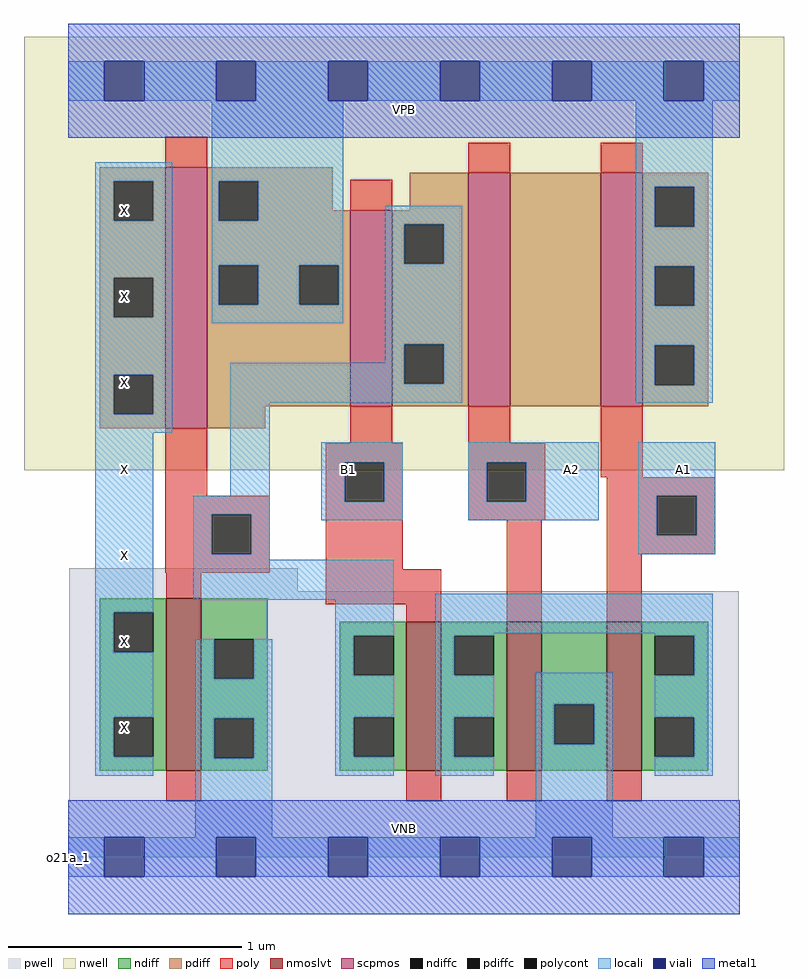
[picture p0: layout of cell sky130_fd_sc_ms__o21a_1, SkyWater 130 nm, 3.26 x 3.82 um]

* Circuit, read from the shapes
.subckt sky130_fd_sc_ms__o21a_1 A1 A2 B1 VGND VNB VPB VPWR X
XM1 VGND n1 X VNB sky130_fd_pr__nfet_01v8_lvt w=0.74 l=0.15
XM2 n2 B1 n1 VNB sky130_fd_pr__nfet_01v8_lvt w=0.64 l=0.15
XM3 VGND A2 n2 VNB sky130_fd_pr__nfet_01v8_lvt w=0.64 l=0.15
XM4 n2 A1 VGND VNB sky130_fd_pr__nfet_01v8_lvt w=0.64 l=0.15
XM5 VPWR n1 X VPB sky130_fd_pr__pfet_01v8 w=1.12 l=0.18
XM6 n1 B1 VPWR VPB sky130_fd_pr__pfet_01v8 w=0.84 l=0.18
XM7 n3 A2 n1 VPB sky130_fd_pr__pfet_01v8 w=1 l=0.18
XM8 VPWR A1 n3 VPB sky130_fd_pr__pfet_01v8 w=1 l=0.18
.ends

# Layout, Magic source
magic
tech sky130A
magscale 1 2
<< nwell >>
rect -38 332 614 704
<< pwell >>
rect 1 228 197 248
rect 1 49 575 228
rect 0 0 576 49
<< scpmos >>
rect 83 368 119 592
rect 242 387 278 555
rect 343 387 379 587
rect 457 387 493 587
<< nmoslvt >>
rect 84 74 114 222
rect 290 74 320 202
rect 376 74 406 202
rect 462 74 492 202
<< ndiff >>
rect 27 210 84 222
rect 27 176 39 210
rect 73 176 84 210
rect 27 120 84 176
rect 27 86 39 120
rect 73 86 84 120
rect 27 74 84 86
rect 114 187 171 222
rect 114 153 125 187
rect 159 153 171 187
rect 114 119 171 153
rect 114 85 125 119
rect 159 85 171 119
rect 114 74 171 85
rect 233 190 290 202
rect 233 156 245 190
rect 279 156 290 190
rect 233 120 290 156
rect 233 86 245 120
rect 279 86 290 120
rect 233 74 290 86
rect 320 190 376 202
rect 320 156 331 190
rect 365 156 376 190
rect 320 120 376 156
rect 320 86 331 120
rect 365 86 376 120
rect 320 74 376 86
rect 406 131 462 202
rect 406 97 417 131
rect 451 97 462 131
rect 406 74 462 97
rect 492 190 549 202
rect 492 156 503 190
rect 537 156 549 190
rect 492 120 549 156
rect 492 86 503 120
rect 537 86 549 120
rect 492 74 549 86
<< pdiff >>
rect 27 580 83 592
rect 27 546 39 580
rect 73 546 83 580
rect 27 497 83 546
rect 27 463 39 497
rect 73 463 83 497
rect 27 414 83 463
rect 27 380 39 414
rect 73 380 83 414
rect 27 368 83 380
rect 119 580 227 592
rect 119 546 129 580
rect 163 555 227 580
rect 293 555 343 587
rect 163 546 242 555
rect 119 508 242 546
rect 119 474 129 508
rect 163 474 198 508
rect 232 474 242 508
rect 119 387 242 474
rect 278 543 343 555
rect 278 509 288 543
rect 322 509 343 543
rect 278 440 343 509
rect 278 406 288 440
rect 322 406 343 440
rect 278 387 343 406
rect 379 387 457 587
rect 493 575 549 587
rect 493 541 503 575
rect 537 541 549 575
rect 493 507 549 541
rect 493 473 503 507
rect 537 473 549 507
rect 493 439 549 473
rect 493 405 503 439
rect 537 405 549 439
rect 493 387 549 405
rect 119 368 169 387
<< ndiffc >>
rect 39 176 73 210
rect 39 86 73 120
rect 125 153 159 187
rect 125 85 159 119
rect 245 156 279 190
rect 245 86 279 120
rect 331 156 365 190
rect 331 86 365 120
rect 417 97 451 131
rect 503 156 537 190
rect 503 86 537 120
<< pdiffc >>
rect 39 546 73 580
rect 39 463 73 497
rect 39 380 73 414
rect 129 546 163 580
rect 129 474 163 508
rect 198 474 232 508
rect 288 509 322 543
rect 288 406 322 440
rect 503 541 537 575
rect 503 473 537 507
rect 503 405 537 439
<< poly >>
rect 83 592 119 618
rect 343 587 379 613
rect 457 587 493 613
rect 242 555 278 581
rect 83 310 119 368
rect 242 355 278 387
rect 343 355 379 387
rect 221 339 287 355
rect 83 294 173 310
rect 83 260 123 294
rect 157 260 173 294
rect 83 244 173 260
rect 221 305 237 339
rect 271 305 287 339
rect 221 247 287 305
rect 343 339 409 355
rect 343 305 359 339
rect 393 305 409 339
rect 457 326 493 387
rect 343 289 409 305
rect 462 310 555 326
rect 84 222 114 244
rect 221 217 320 247
rect 290 202 320 217
rect 376 202 406 289
rect 462 276 505 310
rect 539 276 555 310
rect 462 260 555 276
rect 462 202 492 260
rect 84 48 114 74
rect 290 48 320 74
rect 376 48 406 74
rect 462 48 492 74
<< polycont >>
rect 123 260 157 294
rect 237 305 271 339
rect 359 305 393 339
rect 505 276 539 310
<< locali >>
rect 0 649 31 683
rect 65 649 127 683
rect 161 649 223 683
rect 257 649 319 683
rect 353 649 415 683
rect 449 649 511 683
rect 545 649 576 683
rect 23 580 89 596
rect 23 546 39 580
rect 73 546 89 580
rect 23 497 89 546
rect 23 463 39 497
rect 73 463 89 497
rect 23 414 89 463
rect 123 580 236 649
rect 123 546 129 580
rect 163 546 236 580
rect 487 575 553 649
rect 123 508 236 546
rect 123 474 129 508
rect 163 474 198 508
rect 232 474 236 508
rect 123 458 236 474
rect 272 543 338 559
rect 272 509 288 543
rect 322 509 338 543
rect 272 440 338 509
rect 272 424 288 440
rect 23 380 39 414
rect 73 380 89 414
rect 23 364 89 380
rect 139 406 288 424
rect 322 406 338 440
rect 139 390 338 406
rect 487 541 503 575
rect 537 541 553 575
rect 487 507 553 541
rect 487 473 503 507
rect 537 473 553 507
rect 487 439 553 473
rect 487 405 503 439
rect 537 405 553 439
rect 487 390 553 405
rect 23 210 73 364
rect 139 310 173 390
rect 107 294 173 310
rect 107 260 123 294
rect 157 260 173 294
rect 217 339 287 356
rect 217 305 237 339
rect 271 305 287 339
rect 217 289 287 305
rect 343 339 455 356
rect 343 305 359 339
rect 393 305 455 339
rect 343 289 455 305
rect 489 310 555 356
rect 489 276 505 310
rect 539 276 555 310
rect 489 260 555 276
rect 107 255 173 260
rect 107 221 279 255
rect 23 176 39 210
rect 229 190 279 221
rect 23 120 73 176
rect 23 86 39 120
rect 23 70 73 86
rect 109 153 125 187
rect 159 153 175 187
rect 109 119 175 153
rect 109 85 125 119
rect 159 85 175 119
rect 109 17 175 85
rect 229 156 245 190
rect 229 120 279 156
rect 229 86 245 120
rect 229 70 279 86
rect 315 192 553 226
rect 315 190 365 192
rect 315 156 331 190
rect 503 190 553 192
rect 315 120 365 156
rect 315 86 331 120
rect 315 70 365 86
rect 401 131 467 158
rect 401 97 417 131
rect 451 97 467 131
rect 401 17 467 97
rect 537 156 553 190
rect 503 120 553 156
rect 537 86 553 120
rect 503 70 553 86
rect 0 -17 31 17
rect 65 -17 127 17
rect 161 -17 223 17
rect 257 -17 319 17
rect 353 -17 415 17
rect 449 -17 511 17
rect 545 -17 576 17
<< viali >>
rect 31 649 65 683
rect 127 649 161 683
rect 223 649 257 683
rect 319 649 353 683
rect 415 649 449 683
rect 511 649 545 683
rect 31 -17 65 17
rect 127 -17 161 17
rect 223 -17 257 17
rect 319 -17 353 17
rect 415 -17 449 17
rect 511 -17 545 17
<< metal1 >>
rect 0 683 576 715
rect 0 649 31 683
rect 65 649 127 683
rect 161 649 223 683
rect 257 649 319 683
rect 353 649 415 683
rect 449 649 511 683
rect 545 649 576 683
rect 0 617 576 649
rect 0 17 576 49
rect 0 -17 31 17
rect 65 -17 127 17
rect 161 -17 223 17
rect 257 -17 319 17
rect 353 -17 415 17
rect 449 -17 511 17
rect 545 -17 576 17
rect 0 -49 576 -17
<< labels >>
flabel pwell s 0 0 576 49 0 FreeSans 200 0 0 0 VNB
port 5 nsew ground bidirectional
flabel nwell s 0 617 576 666 0 FreeSans 200 0 0 0 VPB
port 6 nsew power bidirectional
rlabel comment s 0 0 0 0 4 o21a_1
flabel metal1 s 0 617 576 666 0 FreeSans 340 0 0 0 VPWR
port 7 nsew power bidirectional
flabel metal1 s 0 0 576 49 0 FreeSans 340 0 0 0 VGND
port 4 nsew ground bidirectional
flabel locali s 31 94 65 128 0 FreeSans 340 0 0 0 X
port 8 nsew signal output
flabel locali s 31 168 65 202 0 FreeSans 340 0 0 0 X
port 8 nsew signal output
flabel locali s 31 242 65 276 0 FreeSans 340 0 0 0 X
port 8 nsew signal output
flabel locali s 31 316 65 350 0 FreeSans 340 0 0 0 X
port 8 nsew signal output
flabel locali s 31 390 65 424 0 FreeSans 340 0 0 0 X
port 8 nsew signal output
flabel locali s 31 464 65 498 0 FreeSans 340 0 0 0 X
port 8 nsew signal output
flabel locali s 31 538 65 572 0 FreeSans 340 0 0 0 X
port 8 nsew signal output
flabel locali s 415 316 449 350 0 FreeSans 340 0 0 0 A2
port 2 nsew signal input
flabel locali s 223 316 257 350 0 FreeSans 340 0 0 0 B1
port 3 nsew signal input
flabel locali s 511 316 545 350 0 FreeSans 340 0 0 0 A1
port 1 nsew signal input
<< properties >>
string LEFsite unit
string LEFclass CORE
string FIXED_BBOX 0 0 576 666
string GDS_FILE $PDKPATH/libs.ref/sky130_fd_sc_ms/gds/sky130_fd_sc_ms.gds
string LEFsymmetry X Y
string GDS_END 806016
string GDS_START 799544
<< end >>
